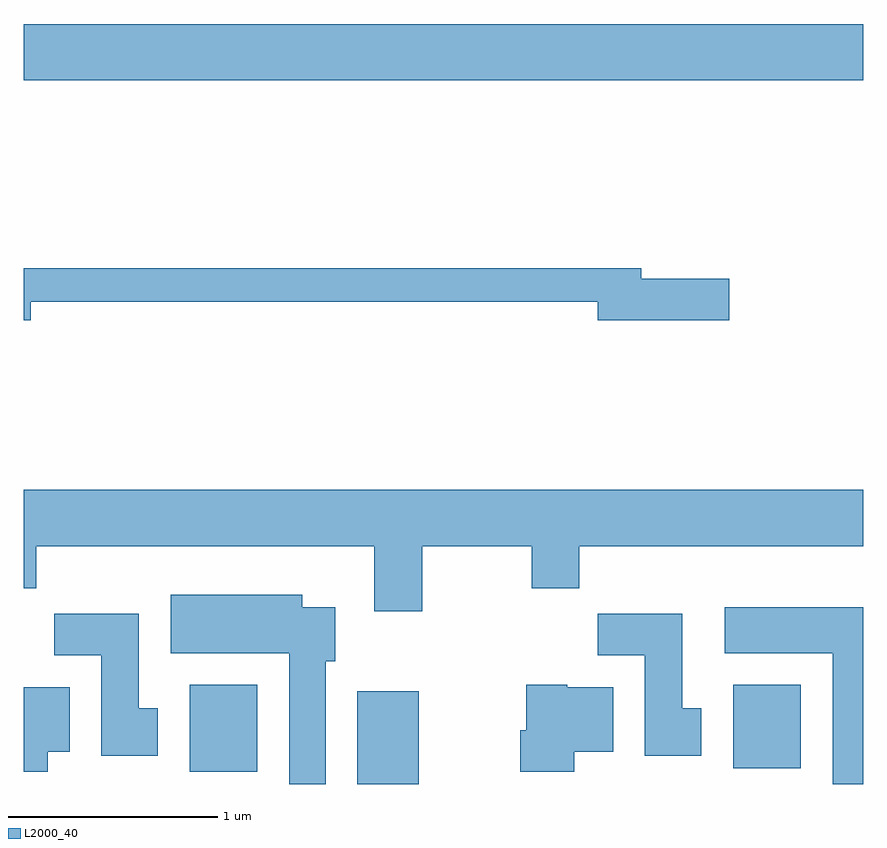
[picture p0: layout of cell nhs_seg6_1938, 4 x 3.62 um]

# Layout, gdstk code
import gdstk
lib = gdstk.Library(unit=1e-6, precision=1e-09)
def R(c, l, rs):  # rectangles x0, y0, x1, y1
    for r in rs: c.add(gdstk.rectangle(r[:2], r[2:], *l))
def P(c, l, *ps):  # polygons
    for p in ps: c.add(gdstk.Polygon(p, *l))
L2000_40 = (2000, 40)

nhs_seg6_1938 = lib.new_cell('nhs_seg6_1938')
R(nhs_seg6_1938, L2000_40, [(245.201,1622.162,245.494,1622.604), (244.401,1622.221,244.724,1622.634), (246.991,1622.236,247.314,1622.634), (243.611,1625.516,247.611,1625.784)])
P(nhs_seg6_1938, L2000_40, [(243.644,1624.461),(246.346,1624.461),(246.346,1624.371),(246.974,1624.371),(246.974,1624.569),(246.554,1624.569),(246.554,1624.619),(243.611,1624.619),(243.611,1624.371),(243.644,1624.371)],
  [(243.611,1623.096),(243.669,1623.096),(243.669,1623.296),(245.281,1623.296),(245.281,1622.986),(245.509,1622.986),(245.509,1623.296),(246.031,1623.296),(246.031,1623.096),(246.259,1623.096),(246.259,1623.296),(247.611,1623.296),(247.611,1623.564),(243.611,1623.564)],
  [(245.049,1622.746),(245.094,1622.746),(245.094,1623.004),(244.939,1623.004),(244.939,1623.064),(244.311,1623.064),(244.311,1622.786),(244.876,1622.786),(244.876,1622.162),(245.049,1622.162)],
  [(247.611,1623.004),(246.951,1623.004),(246.951,1622.786),(247.466,1622.786),(247.466,1622.162),(247.611,1622.162)],
  [(246.839,1622.524),(246.749,1622.524),(246.749,1622.974),(246.346,1622.974),(246.346,1622.776),(246.571,1622.776),(246.571,1622.296),(246.839,1622.296)],
  [(244.249,1622.524),(244.159,1622.524),(244.159,1622.974),(243.756,1622.974),(243.756,1622.776),(243.981,1622.776),(243.981,1622.296),(244.249,1622.296)],
  [(246.234,1622.316),(246.419,1622.316),(246.419,1622.624),(246.2,1622.624),(246.2,1622.634),(246.006,1622.634),(246.006,1622.419),(245.976,1622.419),(245.976,1622.221),(246.234,1622.221)],
  [(243.724,1622.316),(243.829,1622.316),(243.829,1622.624),(243.611,1622.624),(243.611,1622.221),(243.724,1622.221)])

lib.write_gds('nhs_seg6_1938.gds')
